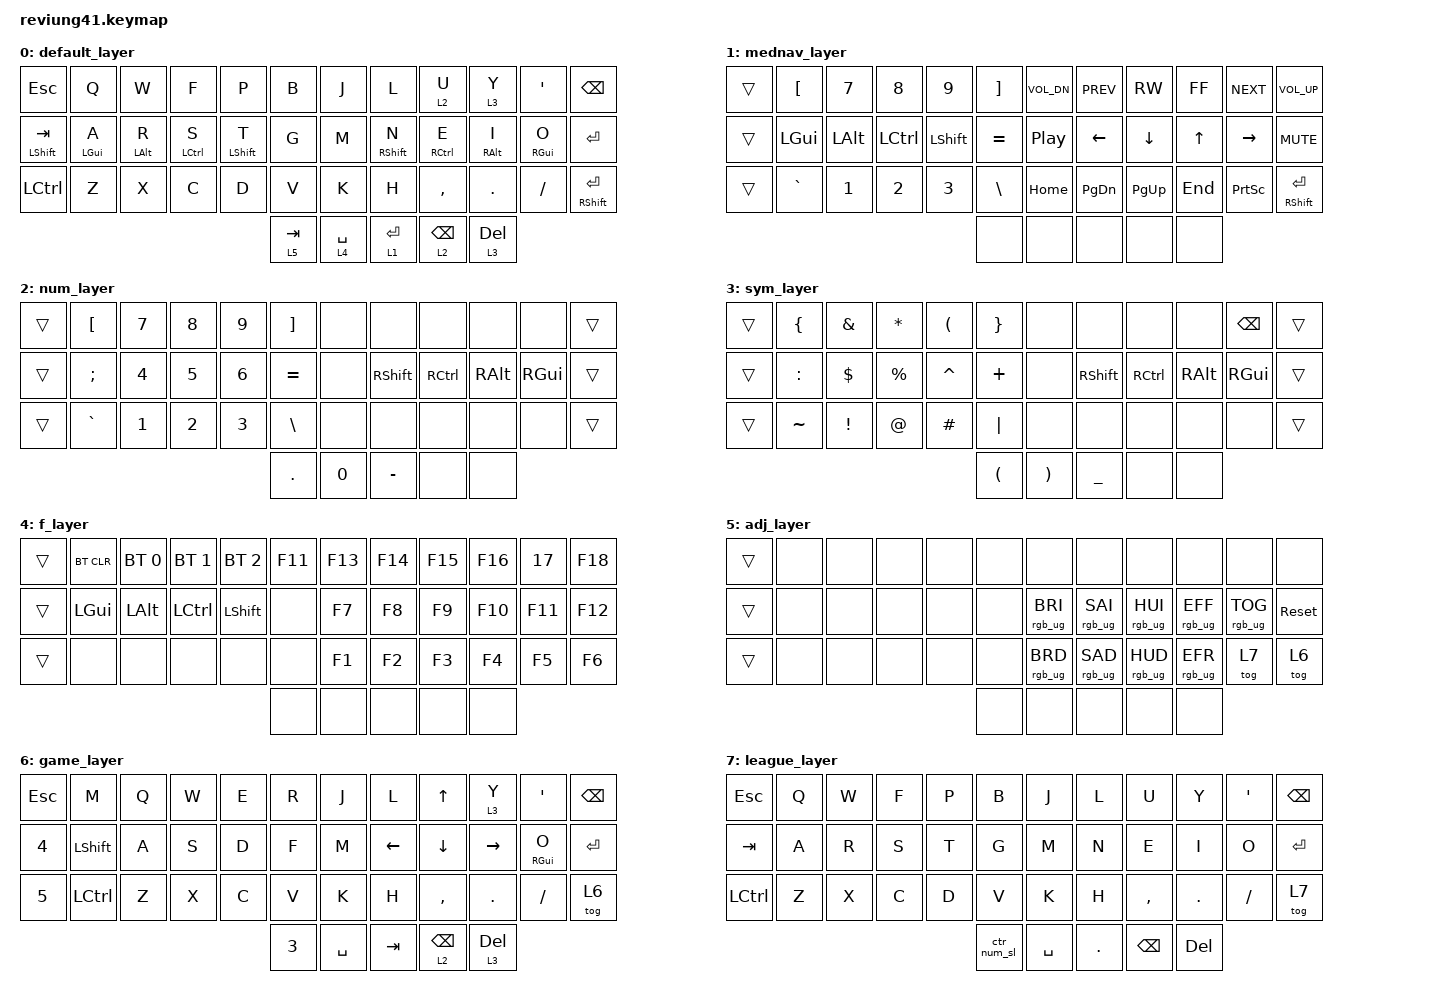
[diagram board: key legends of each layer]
/*
 * Copyright (c) 2020 The ZMK Contributors
 *
 * SPDX-License-Identifier: MIT
 */

#include <behaviors.dtsi>
#include <dt-bindings/zmk/keys.h>
#include <dt-bindings/zmk/bt.h>
#include <dt-bindings/zmk/rgb.h>

/ {
        behaviors {
                hm: homerow_mods {
                compatible = "zmk,behavior-hold-tap";
                label = "HOMEROW_MODS";
                #binding-cells = <2>;
                tapping-term-ms = <200>;
                quick_tap_ms = <0>;
                flavor = "tap-preferred";
                bindings = <&kp>, <&kp>;
                };
        };

        macros {
              ctr_num_sl: ctr_num_sl {
                compatible = "zmk,behavior-macro";
                #binding-cells = <0>;
                bindings
                        = <&macro_press &mo 2 &kp LCTRL>
                        , <&macro_pause_for_release>
                        , <&macro_release &mo 2 &kp LCTRL>
                        ;
              };

        };

        keymap {
                compatible = "zmk,keymap";

                default_layer {
                        bindings = <
   &kp ESC   &kp Q          &kp W      &kp F       &kp P       &kp B   &kp J &kp L        &lt 2 U         &lt 3 Y        &kp SQT            &kp BSPC
   &mt LSHFT TAB   &hm LGUI A &hm LALT R &hm LCTRL S &hm LSHFT T &kp G   &kp M &hm RSHFT N  &hm RCTRL E   &hm RALT I   &hm RGUI O       &kp RET
   &kp LCTRL &kp Z          &kp X      &kp C       &kp D       &kp V   &kp K &kp H        &kp COMMA     &kp DOT      &kp FSLH           &mt RSHFT RET
                                       &lt 5 TAB  &lt 4 SPACE &lt 1 RET &lt 2 BSPC &lt 3 DEL
                        >;
                };
                mednav_layer {
                        bindings = <
   &trans &kp LBKT    &kp N7    &kp N8    &kp N9    &kp RBKT        &kp C_VOL_DN     &kp C_PREV  &kp C_RW  &kp C_FF    &kp C_NEXT  &kp C_VOL_UP
   &trans &kp LGUI    &kp LALT  &kp LCTRL &kp LSHFT &kp EQUAL       &kp C_PLAY_PAUSE &kp LEFT  &kp DOWN  &kp UP    &kp RIGHT  &kp C_MUTE
   &trans &kp GRAVE   &kp N1    &kp N2    &kp N3    &kp BSLH        &kp HOME         &kp PG_DN &kp PG_UP &kp END   &kp PSCRN  &mt RSHFT RET
                                                &none      &none      &none        &none    &none
                        >;
                };

                num_layer {
                        bindings = <
   &trans &kp LBKT    &kp N7    &kp N8    &kp N9    &kp RBKT        &none        &none        &none        &none        &none        &trans
   &trans &kp SEMI    &kp N4    &kp N5    &kp N6    &kp EQUAL       &none        &kp RSHFT    &kp RCTRL    &kp RALT     &kp RGUI     &trans
   &trans &kp GRAVE   &kp N1    &kp N2    &kp N3    &kp BSLH        &none        &none        &none        &none        &none        &trans
                                &kp DOT      &kp N0       &kp MINUS        &none     &none
                        >;
                };

                sym_layer {
                        bindings = <
   &trans &kp LBRC    &kp AMPS    &kp ASTRK      &kp LPAR    &kp RBRC        &none        &none        &none        &none        &kp BACKSPACE        &trans
   &trans &kp COLON    &kp DOLLAR  &kp PERCENT    &kp CARET   &kp PLUS        &none        &kp RSHFT    &kp RCTRL    &kp RALT     &kp RGUI     &trans
   &trans &kp TILDE   &kp EXCL    &kp AT         &kp HASH    &kp PIPE        &none        &none        &none        &none        &none        &trans
                                &kp LPAR      &kp RPAR       &kp UNDER       &none    &none
                        >;
                };

                f_layer{
                        bindings = <
   &trans       &bt BT_CLR   &bt BT_SEL 0      &bt BT_SEL 1        &bt BT_SEL 2        &kp F11       &kp F13      &kp F14      &kp F15      &kp F16      &kp 17        &kp F18
   &trans       &kp LGUI     &kp LALT     &kp LCTRL    &kp LSHFT    &none       &kp F7       &kp F8       &kp F9       &kp F10      &kp F11       &kp F12
   &trans       &none        &none        &none        &none        &none       &kp F1       &kp F2       &kp F3       &kp F4       &kp F5        &kp F6
                                                &none      &none      &none        &none    &none
                        >;
                };

                adj_layer {
                        bindings = <
   &trans       &none        &none        &none        &none        &none          &none &none &none &none &none &none
   &trans       &none        &none        &none        &none        &none          &rgb_ug RGB_BRI &rgb_ug RGB_SAI &rgb_ug RGB_HUI &rgb_ug RGB_EFF &rgb_ug RGB_TOG &sys_reset
   &trans       &none        &none        &none        &none        &none          &rgb_ug RGB_BRD &rgb_ug RGB_SAD &rgb_ug RGB_HUD &rgb_ug RGB_EFR &tog 7 &tog 6
                                                        &none      &none       &none        &none      &none
                        >;
                };

                game_layer {
                        bindings = <
   &kp ESC   &kp M          &kp Q      &kp W       &kp E       &kp R   &kp J &kp L        &kp UP        &lt 3 Y        &kp SQT            &kp BSPC
   &kp N4  &kp LSHFT        &kp A      &kp S       &kp D       &kp F   &kp M &kp LEFT     &kp DOWN      &kp RIGHT   &hm RGUI O       &kp RET
   &kp N5 &kp LCTRL         &kp Z      &kp X       &kp C       &kp V   &kp K &kp H        &kp COMMA     &kp DOT      &kp FSLH           &tog 6
                                       &kp N3  &kp SPACE &kp TAB &lt 2 BSPC &lt 3 DEL
                >;
        };
        league_layer {
                        bindings = <
   &kp ESC   &kp Q          &kp W      &kp F       &kp P       &kp B     &kp J      &kp L        &kp U         &kp Y        &kp SQT            &kp BSPC
   &kp TAB   &kp A          &kp R      &kp S       &kp T       &kp G     &kp M      &kp N        &kp E         &kp I        &kp O              &kp RET
   &kp LCTRL &kp Z          &kp X      &kp C       &kp D       &kp V     &kp K      &kp H        &kp COMMA     &kp DOT      &kp FSLH           &tog 7
                                       &ctr_num_sl   &kp SPACE   &kp DOT   &kp BSPC   &kp DEL
                        >;
                };
  };
};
